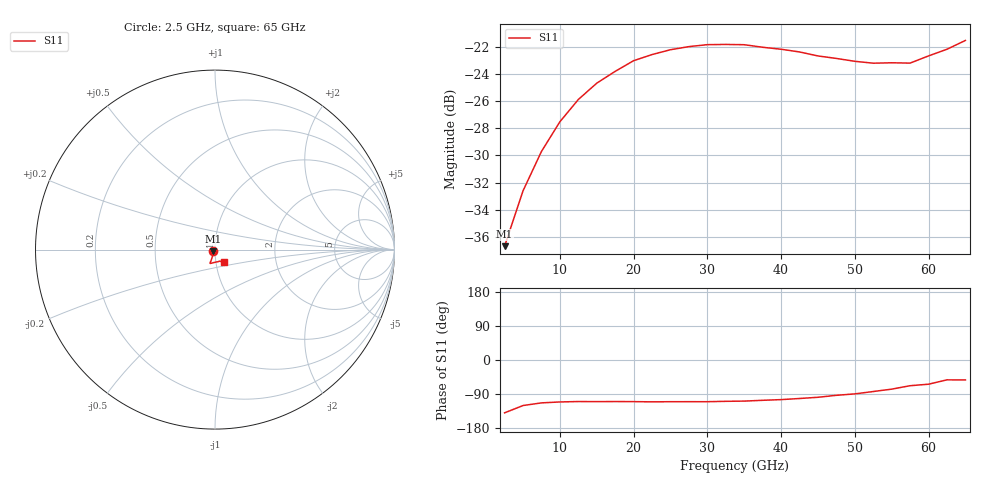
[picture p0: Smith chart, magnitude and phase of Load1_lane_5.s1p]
! File created by SignalIntegrity v1.5.1: Signal and Power Integrity Tools
! https://github.com/Nubis-Communications/SignalIntegrity
# MHz S MA R 50.0
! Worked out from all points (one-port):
!   26 points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, 2.5 GHz to 65 GHz, reference 50 ohm
!   lowest |S11| = -36.7 dB at 2.5 GHz (marker M1), VSWR 1.03, Z = 48.9 - j0.931 ohm
!   |S11| at or under -10 dB: start of sweep to end of sweep
2500  0.01463 -139.4
5000  0.02342 -120.1
7500  0.03273 -113.2
10000  0.04212 -110.7
12500  0.0509 -109.6
15000  0.05848 -109.9
17500  0.06466 -109.6
20000  0.07079 -109.9
22500  0.07457 -110.4
25000  0.07771 -110.1
27500  0.07978 -110.0
30000  0.08112 -110.0
32500  0.08127 -109.1
35000  0.08108 -108.5
37500  0.07934 -106.4
40000  0.07802 -104.5
42500  0.07624 -101.6
45000  0.07371 -98.4
47500  0.07215 -93.2
50000  0.07042 -89.4
52500  0.06929 -83.2
55000  0.06954 -76.9
57500  0.06935 -67.8
60000  0.07372 -63.9
62500  0.07802 -52.4
65000  0.08407 -52.6
